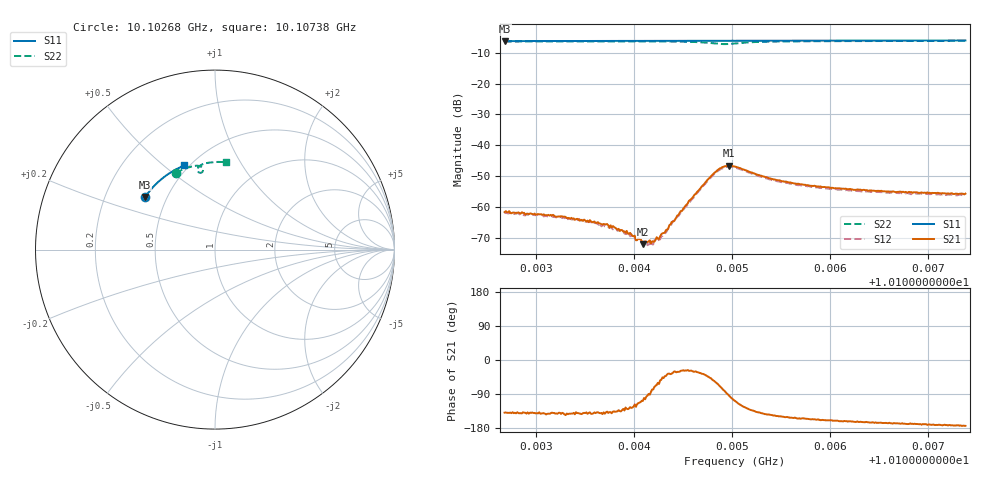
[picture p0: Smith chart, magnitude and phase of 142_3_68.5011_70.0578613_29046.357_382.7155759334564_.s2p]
#  HZ  S  RI  R  50.00
! Rohde & Schwarz Vector Network Analyzer
! Rohde-Schwarz,ZNB20-2Port,1311601062101988,3.16
! Created: UTC 3/20/2024, 5:10:04 PM
! freq[Hz]  re:S11  im:S11  re:S21  im:S21  re:S12  im:S12  re:S22  im:S22
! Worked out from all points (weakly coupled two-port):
!   401 points, 10.10268 GHz to 10.10738 GHz, reference 50 ohm
!   highest |S21| = -46.61 dB at 10.10497 GHz (marker M1); lowest = -72.1 dB at 10.10409 GHz (marker M2)
!   lowest |S11| = -6.2 dB at 10.10268 GHz (marker M3), VSWR 2.90, Z = 18.9 + j14.5 ohm
!   |S11| at or under -10 dB: nowhere
!   |S22| runs from -7.2 to -6.2 dB; largest |S21 - S12| = 0.00048
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1.0102676e10  -0.3893 0.2926  -0.000624 -0.000544  -0.000563 -0.000595  -0.2187 0.4265
1.0103146e10  -0.3725 0.3158  -0.000576 -0.000476  -0.000512 -0.000488  -0.191 0.441
1.0103464e10  -0.3603 0.331  -0.000494 -0.000376  -0.000427 -0.000426  -0.1715 0.4496
1.010357e10  -0.3563 0.3358  -0.000446 -0.000349  -0.000406 -0.000389  -0.1649 0.4523
1.0103781e10  -0.3477 0.3453  -0.000356 -0.00034  -0.000279 -0.000334  -0.1509 0.4575
1.0103946e10  -0.341 0.3528  -0.000228 -0.000292  -0.000194 -0.000315  -0.1396 0.4611
1.0103981e10  -0.3395 0.3544  -0.000199 -0.000279  -0.000151 -0.000279  -0.1371 0.4618
1.0104005e10  -0.3385 0.3553  -0.000157 -0.000307  -0.000124 -0.000294  -0.1354 0.4622
1.0104087e10  -0.335 0.3589  -7.72e-05 -0.000236  -4.23e-05 -0.000267  -0.1294 0.4637
1.0104158e10  -0.3321 0.3622  -8.13e-06 -0.00029  4.09e-05 -0.000258  -0.1242 0.4652
1.0104193e10  -0.3305 0.3635  5.87e-05 -0.000272  8.6e-05 -0.000233  -0.1213 0.4655
1.0104252e10  -0.3279 0.366  0.000137 -0.000272  0.000183 -0.000233  -0.1166 0.4665
1.0104322e10  -0.3249 0.3691  0.000312 -0.000283  0.000309 -0.000232  -0.1107 0.4671
1.0104581e10  -0.3131 0.3797  0.0012 -0.000635  0.00119 -0.000528  -0.0858 0.4655
1.0104793e10  -0.3035 0.3881  0.00205 -0.00254  0.00221 -0.00224  -0.0667 0.4455
1.0104887e10  -0.2992 0.3915  0.00125 -0.00411  0.0016 -0.00385  -0.0728 0.4306
1.0104969e10  -0.2956 0.3948  -0.000355 -0.00466  6.54e-05 -0.00449  -0.0876 0.429
1.0105028e10  -0.2928 0.3971  -0.00139 -0.0043  -0.000993 -0.00422  -0.0951 0.4358
1.0105404e10  -0.2749 0.411  -0.00236 -0.00163  -0.00211 -0.00174  -0.0766 0.4721
1.0105816e10  -0.2543 0.4252  -0.00201 -0.000885  -0.00187 -0.00103  -0.0447 0.4824
1.0106603e10  -0.2132 0.4493  -0.00172 -0.000441  -0.0016 -0.000537  0.00937 0.4884
1.0107379e10  -0.1704 0.4688  -0.00164 -0.000177  -0.00155 -0.00033  0.0603 0.487
